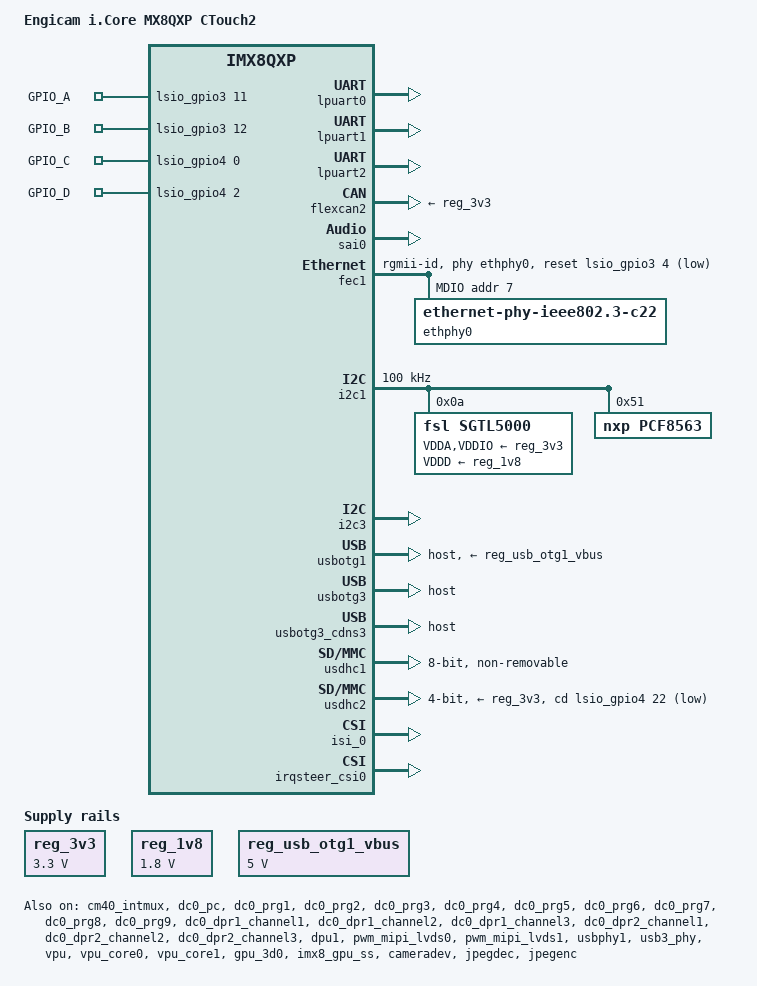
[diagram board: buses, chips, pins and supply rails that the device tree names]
// SPDX-License-Identifier: GPL-2.0+
/*
 * Copyright 2017-2020 NXP
 */

/dts-v1/;

#include "../freescale/imx8qxp.dtsi"
#include <dt-bindings/usb/pd.h>

/ {

	model = "Engicam i.Core MX8QXP CTouch2";
	compatible = "fsl,imx8qxp";

	chosen {
		stdout-path = &lpuart0;
	};

	/*memory@80000000 {
		device_type = "memory";
		reg = <0x00000000 0x80000000 0 0x80000000>;
	};*/

  gpio_export {
		compatible = "gpio-export";
		#size-cells = <0>;

		GPIO_A {
			gpio-export,name = "GPIO_A";
			gpio-export,output = <0>;
			gpio-export,direction_may_change;
			gpios = <&lsio_gpio3 11 0>;
		};

		GPIO_B {
			gpio-export,name = "GPIO_B";
			gpio-export,output = <0>;
			gpio-export,direction_may_change;
			gpios = <&lsio_gpio3 12 0>;
		};

		GPIO_C {
			gpio-export,name = "GPIO_C";
			gpio-export,output = <0>;
			gpio-export,direction_may_change;
			gpios = <&lsio_gpio4 0 0>;
		};

		GPIO_D {
			gpio-export,name = "GPIO_D";
			gpio-export,output = <0>;
			gpio-export,direction_may_change;
			gpios = <&lsio_gpio4 2 0>;
		};
	};

	reserved-memory {
		#address-cells = <2>;
		#size-cells = <2>;
		ranges;

		decoder_boot: decoder-boot@84000000 {
			reg = <0 0x84000000 0 0x2000000>;
			no-map;
		};

		encoder_boot: encoder-boot@86000000 {
			reg = <0 0x86000000 0 0x200000>;
			no-map;
		};

		decoder_rpc: decoder-rpc@92000000 {
			reg = <0 0x92000000 0 0x100000>;
			no-map;
		};

		encoder_rpc: encoder-rpc@94400000 {
			reg = <0 0x94400000 0 0x700000>;
			no-map;
		};
		/* global autoconfigured region for contiguous allocations */
		linux,cma {
			compatible = "shared-dma-pool";
			reusable;
			size = <0 0x3c000000>;
			alloc-ranges = <0 0x96000000 0 0x3c000000>;
			linux,cma-default;
		};
	};

	reg_3v3: regulator-3v3 {
		compatible = "regulator-fixed";
		regulator-name = "3v3";
		regulator-min-microvolt = <3300000>;
		regulator-max-microvolt = <3300000>;
		regulator-always-on;
	};

	reg_1v8: regulator-1v8 {
		compatible = "regulator-fixed";
		regulator-name = "1v8";
		regulator-min-microvolt = <1800000>;
		regulator-max-microvolt = <1800000>;
		regulator-always-on;
	};

	reg_usb_otg1_vbus: regulator-usbotg1-vbus {
		compatible = "regulator-fixed";
		regulator-name = "usb_otg1_vbus";
		regulator-min-microvolt = <5000000>;
		regulator-max-microvolt = <5000000>;
		regulator-always-on;
	};

	sound {
		compatible = "simple-audio-card";
		simple-audio-card,name = "imx8qxp-sgtl5000";
		simple-audio-card,format = "i2s";
		simple-audio-card,bitclock-master = <&dailink_master>;
		simple-audio-card,frame-master = <&dailink_master>;
		simple-audio-card,cpu {
			sound-dai = <&sai0>;
		};

		dailink_master: simple-audio-card,codec {
		    sound-dai = <&sgtl5000>;
			clocks = <&mclkout0_lpcg 0>;
		};
	};

	imx8x_cm4: imx8x_cm4@0 {
		compatible = "fsl,imx8qxp-cm4";
		rsc-da = <0x90000000>;
		mbox-names = "tx", "rx", "rxdb";
		mboxes = <&lsio_mu5 0 1
			  &lsio_mu5 1 1
			  &lsio_mu5 3 1>;
		mub-partition = <3>;
		memory-region = <&vdev0vring0>, <&vdev0vring1>, <&vdevbuffer>,
				<&vdev1vring0>, <&vdev1vring1>;
		core-index = <0>;
		core-id = <IMX_SC_R_M4_0_PID0>;
		status = "okay";
		power-domains = <&pd IMX_SC_R_M4_0_PID0>,
				<&pd IMX_SC_R_M4_0_MU_1A>;
	};

	reserved-memory {
		#address-cells = <2>;
		#size-cells = <2>;
		ranges;

		vdev0vring0: vdev0vring0@90000000 {
                        compatible = "shared-dma-pool";
			reg = <0 0x90000000 0 0x8000>;
			no-map;
		};

		vdev0vring1: vdev0vring1@90008000 {
                        compatible = "shared-dma-pool";
			reg = <0 0x90008000 0 0x8000>;
			no-map;
		};

		vdev1vring0: vdev1vring0@90010000 {
                        compatible = "shared-dma-pool";
			reg = <0 0x90010000 0 0x8000>;
			no-map;
		};

		vdev1vring1: vdev1vring1@90018000 {
                        compatible = "shared-dma-pool";
			reg = <0 0x90018000 0 0x8000>;
			no-map;
		};

		vdevbuffer: vdevbuffer {
                        compatible = "shared-dma-pool";
			reg = <0 0x90400000 0 0x100000>;
			no-map;
		};
	};

};

&cm40_intmux {
	status = "okay";
};

&dc0_pc {
	status = "okay";
};

&dc0_prg1 {
	status = "okay";
};

&dc0_prg2 {
	status = "okay";

};

&dc0_prg3 {
	status = "okay";
};

&dc0_prg4 {
	status = "okay";
};

&dc0_prg5 {
	status = "okay";
};

&dc0_prg6 {
	status = "okay";
};

&dc0_prg7 {
	status = "okay";
};

&dc0_prg8 {
	status = "okay";
};

&dc0_prg9 {
	status = "okay";
};

&dc0_dpr1_channel1 {
	status = "okay";
};

&dc0_dpr1_channel2 {
	status = "okay";
};

&dc0_dpr1_channel3 {
	status = "okay";
};

&dc0_dpr2_channel1 {
	status = "okay";
};

&dc0_dpr2_channel2 {
	status = "okay";
};

&dc0_dpr2_channel3 {
	status = "okay";
};

&dpu1 {
	status = "okay";
};

&pwm_mipi_lvds0 {
	pinctrl-names = "default";
	pinctrl-0 = <&pinctrl_pwm_mipi_lvds0>;
	status = "okay";
};

&pwm_mipi_lvds1 {
	pinctrl-names = "default";
	pinctrl-0 = <&pinctrl_pwm_mipi_lvds1>;
	status = "okay";
};

&lpuart0 {
	pinctrl-names = "default";
	pinctrl-0 = <&pinctrl_lpuart0>;
	status = "okay";
};

&lpuart1 {
	pinctrl-names = "default";
	pinctrl-0 = <&pinctrl_lpuart1>;
	fsl,uart-has-rtscts;
	rs485-rts-active-low;
	linux,rs485-enabled-at-boot-time;
	status = "okay";
};

&lpuart2 {
	pinctrl-names = "default";
	pinctrl-0 = <&pinctrl_lpuart2>;
	status = "okay";
};

&flexcan2 {
	pinctrl-names = "default";
	pinctrl-0 = <&pinctrl_flexcan2>;
	xceiver-supply = <&reg_3v3>;
	status = "okay";
};

&sai0 {
	#sound-dai-cells = <0>;
	assigned-clocks = <&clk IMX_SC_R_AUDIO_PLL_0 IMX_SC_PM_CLK_PLL>,
			<&clk IMX_SC_R_AUDIO_PLL_0 IMX_SC_PM_CLK_SLV_BUS>,
			<&clk IMX_SC_R_AUDIO_PLL_0 IMX_SC_PM_CLK_MST_BUS>,
			<&sai0_lpcg 0>;
	assigned-clock-rates = <786432000>, <49152000>, <12288000>, <49152000>;
	pinctrl-names = "default";
	pinctrl-0 = <&pinctrl_sai0>;
	status = "okay";
};

&fec1 {
	pinctrl-names = "default";
	pinctrl-0 = <&pinctrl_fec1>;
	phy-mode = "rgmii-id";
	phy-handle = <&ethphy0>;
	reset-gpio = <&lsio_gpio3 4 GPIO_ACTIVE_LOW>;
	status = "okay";

	mdio {
		#address-cells = <1>;
		#size-cells = <0>;

		ethphy0: ethernet-phy@7 {
			compatible = "ethernet-phy-ieee802.3-c22";
			reg = <7>;
			max-speed = <100>;
			status = "okay";
		};
	};
};

&i2c1 {
	#address-cells = <1>;
	#size-cells = <0>;
	clock-frequency = <100000>;
	pinctrl-names = "default";
	pinctrl-0 = <&pinctrl_lpi2c1>;
	status = "okay";

	sgtl5000: codec@a {
		compatible = "fsl,sgtl5000";
		status = "okay";
		#sound-dai-cells = <0>;
		reg = <0x0a>;
		clocks = <&mclkout0_lpcg 0>;
		clock-names = "mclk";
		assigned-clocks = <&clk IMX_SC_R_AUDIO_PLL_0 IMX_SC_PM_CLK_PLL>,
				<&clk IMX_SC_R_AUDIO_PLL_0 IMX_SC_PM_CLK_SLV_BUS>,
				<&clk IMX_SC_R_AUDIO_PLL_0 IMX_SC_PM_CLK_MST_BUS>,
				<&mclkout0_lpcg 0>;
		assigned-clock-rates = <786432000>, <49152000>, <12288000>, <12288000>;
		VDDA-supply = <&reg_3v3>;
		VDDIO-supply = <&reg_3v3>;
		VDDD-supply = <&reg_1v8>;
	};

	pcf8563: rtc@51 {
		compatible = "nxp,pcf8563";
		reg = <0x51>;
	};
};

&i2c3
{
  #address-cells = <1>;
	#size-cells = <0>;
	pinctrl-names = "default";
	pinctrl-0 = <&pinctrl_lpi1c3>;
	status = "okay";
};

&usbphy1 {
	status = "okay";
};

&usbotg1 {
	vbus-supply = <&reg_usb_otg1_vbus>;
	srp-disable;
	hnp-disable;
	adp-disable;
	power-active-high;
	disable-over-current;
	dr_mode = "host";
	status = "okay";
};

&usb3_phy {
	status = "okay";
};

&usbotg3 {
	dr_mode = "host";
	pinctrl-assert-gpios = <&lsio_gpio4 19 GPIO_ACTIVE_HIGH>;
	status = "okay";
};

&usbotg3_cdns3 {
	dr_mode = "host";
	status = "okay";
};

&usdhc1 {
	pinctrl-names = "default", "state_100mhz", "state_200mhz";
	pinctrl-0 = <&pinctrl_usdhc1>;
	pinctrl-1 = <&pinctrl_usdhc1_100mhz>;
	pinctrl-2 = <&pinctrl_usdhc1_200mhz>;
	bus-width = <8>;
	no-sd;
	no-sdio;
	non-removable;
	status = "okay";
};

&usdhc2 {
	pinctrl-names = "default", "state_100mhz", "state_200mhz";
	pinctrl-0 = <&pinctrl_usdhc2>, <&pinctrl_usdhc2_gpio>;
	pinctrl-1 = <&pinctrl_usdhc2>, <&pinctrl_usdhc2_gpio>;
	pinctrl-2 = <&pinctrl_usdhc2>, <&pinctrl_usdhc2_gpio>;
	bus-width = <4>;
	vmmc-supply = <&reg_3v3>;
	no-1-8-v;
	cd-gpios = <&lsio_gpio4 22 GPIO_ACTIVE_LOW>;
	status = "okay";
};

&vpu {
	compatible = "nxp,imx8qxp-vpu";
	status = "okay";
};

&vpu_core0 {
	reg = <0x2d040000 0x10000>;
	memory-region = <&decoder_boot>, <&decoder_rpc>;
	status = "okay";
};

&vpu_core1 {
	reg = <0x2d050000 0x10000>;
	memory-region = <&encoder_boot>, <&encoder_rpc>;
	status = "okay";
};

&gpu_3d0 {
	status = "okay";
};

&imx8_gpu_ss {
	status = "okay";
};

&isi_0 {
	status = "okay";

	cap_device {
		status = "okay";
	};

	m2m_device {
		status = "okay";
	};
};

&irqsteer_csi0 {
	status = "okay";
};

&cameradev {
	status = "okay";
};

&jpegdec {
	status = "okay";
};

&jpegenc {
	status = "okay";
};

/*&thermal_zones {
	pmic-thermal0 {
		polling-delay-passive = <250>;
		polling-delay = <2000>;
		thermal-sensors = <&tsens 497>;
		trips {
			pmic_alert0: trip0 {
				temperature = <110000>;
				hysteresis = <2000>;
				type = "passive";
			};
			pmic_crit0: trip1 {
				temperature = <125000>;
				hysteresis = <2000>;
				type = "critical";
			};
		};
		cooling-maps {
			map0 {
				trip = <&pmic_alert0>;
				cooling-device =
					<&A35_0 THERMAL_NO_LIMIT THERMAL_NO_LIMIT>,
					<&A35_1 THERMAL_NO_LIMIT THERMAL_NO_LIMIT>,
					<&A35_2 THERMAL_NO_LIMIT THERMAL_NO_LIMIT>,
					<&A35_3 THERMAL_NO_LIMIT THERMAL_NO_LIMIT>;
			};
		};
	};
};*/

&iomuxc {
	pinctrl-names = "default";
	pinctrl-0 = <&pinctrl_hog>;

	pinctrl_hog: hoggrp {
		fsl,pins = <
			IMX8QXP_MCLK_OUT0_ADMA_ACM_MCLK_OUT0       0x0600004c
			IMX8QXP_COMP_CTL_GPIO_1V8_3V3_GPIORHB_PAD  0x000514a0
			IMX8QXP_QSPI0A_DATA2_LSIO_GPIO3_IO11 0x06000020 // GPIO_A
			IMX8QXP_QSPI0A_DATA3_LSIO_GPIO3_IO12 0x06000020 // GPIO_B
			IMX8QXP_PCIE_CTRL0_PERST_B_LSIO_GPIO4_IO00 0x06000020 // GPIO_C
			IMX8QXP_PCIE_CTRL0_WAKE_B_LSIO_GPIO4_IO02 0x06000020 // GPIO_D
		>;
	};

	pinctrl_usbotg1: usbotg1 {
		fsl,pins = <
			IMX8QXP_USB_SS3_TC0_CONN_USB_OTG1_PWR		0x00000021
		>;
	};

	pinctrl_fec1: fec1grp {
		fsl,pins = <
			IMX8QXP_COMP_CTL_GPIO_1V8_3V3_ENET_ENETB0_PAD		0x000014a0
			IMX8QXP_COMP_CTL_GPIO_1V8_3V3_ENET_ENETB1_PAD		0x000014a0
			IMX8QXP_ENET0_MDC_CONN_ENET0_MDC			0x06000020
			IMX8QXP_ENET0_MDIO_CONN_ENET0_MDIO			0x06000020
			IMX8QXP_ENET0_RGMII_TX_CTL_CONN_ENET0_RGMII_TX_CTL	0x00000061
			IMX8QXP_ENET0_RGMII_TXC_CONN_ENET0_RGMII_TXC		0x00000061
			IMX8QXP_ENET0_RGMII_TXD0_CONN_ENET0_RGMII_TXD0		0x00000061
			IMX8QXP_ENET0_RGMII_TXD1_CONN_ENET0_RGMII_TXD1		0x00000061
			IMX8QXP_ENET0_RGMII_TXD2_CONN_ENET0_RGMII_TXD2		0x00000061
			IMX8QXP_ENET0_RGMII_TXD3_CONN_ENET0_RGMII_TXD3		0x00000061
			IMX8QXP_ENET0_RGMII_RXC_CONN_ENET0_RGMII_RXC		0x00000061
			IMX8QXP_ENET0_RGMII_RX_CTL_CONN_ENET0_RGMII_RX_CTL	0x00000061
			IMX8QXP_ENET0_RGMII_RXD0_CONN_ENET0_RGMII_RXD0		0x00000061
			IMX8QXP_ENET0_RGMII_RXD1_CONN_ENET0_RGMII_RXD1		0x00000061
			IMX8QXP_ENET0_RGMII_RXD2_CONN_ENET0_RGMII_RXD2		0x00000061
			IMX8QXP_ENET0_RGMII_RXD3_CONN_ENET0_RGMII_RXD3		0x00000061
			IMX8QXP_MIPI_CSI0_MCLK_OUT_LSIO_GPIO3_IO04 0x06000020 /* Reset */
		>;
	};

	pinctrl_lpi2c1: lpi2c1grp {
		fsl,pins = <
			IMX8QXP_USB_SS3_TC1_ADMA_I2C1_SCL			0x06000021
			IMX8QXP_USB_SS3_TC3_ADMA_I2C1_SDA			0x06000021
		>;
	};

	pinctrl_lpi1c3: lpi1c3grp {
		fsl,pins = <
			IMX8QXP_SPI3_CS1_ADMA_I2C3_SCL			0x06000021
			IMX8QXP_MCLK_IN1_ADMA_I2C3_SDA			0x06000021
		>;
	};

	pinctrl_flexcan2: flexcan1grp {
		fsl,pins = <
			IMX8QXP_FLEXCAN1_TX_ADMA_FLEXCAN1_TX            0x21
			IMX8QXP_FLEXCAN1_RX_ADMA_FLEXCAN1_RX            0x21
			>;
	};

	pinctrl_lpuart0: lpuart0grp {
		fsl,pins = <
			IMX8QXP_UART0_RX_ADMA_UART0_RX				0x06000020
			IMX8QXP_UART0_TX_ADMA_UART0_TX				0x06000020
		>;
	};

	pinctrl_lpuart1: lpuart1grp {
		fsl,pins = <
			IMX8QXP_UART1_TX_ADMA_UART1_TX		0x06000020
			IMX8QXP_UART1_RX_ADMA_UART1_RX		0x06000020
			IMX8QXP_UART1_RTS_B_ADMA_UART1_RTS_B	0x06000020
			IMX8QXP_UART1_CTS_B_ADMA_UART1_CTS_B	0x06000020
		>;
	};

	pinctrl_lpuart2: lpuart2grp {
		fsl,pins = <
			IMX8QXP_UART2_TX_ADMA_UART2_TX		0x06000020
			IMX8QXP_UART2_RX_ADMA_UART2_RX		0x06000020
		>;
	};

	pinctrl_pwm_mipi_lvds0: mipi_lvds0_pwm_grp {
		fsl,pins = <
			IMX8QXP_MIPI_DSI0_GPIO0_00_MIPI_DSI0_PWM0_OUT		0x00000020
		>;
	};

	pinctrl_pwm_mipi_lvds1: mipi_lvds1_pwm_grp {
		fsl,pins = <
			IMX8QXP_MIPI_DSI1_GPIO0_00_MIPI_DSI1_PWM0_OUT		0x00000020
		>;
	};

	pinctrl_sai0: sai0grp {
		fsl,pins = <
			IMX8QXP_SAI0_TXD_ADMA_SAI0_TXD		0x06000060
			IMX8QXP_SAI0_RXD_ADMA_SAI0_RXD		0x06000040
			IMX8QXP_SAI0_TXC_ADMA_SAI0_TXC		0x06000040
			IMX8QXP_SAI0_TXFS_ADMA_SAI0_TXFS	0x06000040
		>;
	};

	pinctrl_usdhc1: usdhc1grp {
		fsl,pins = <
			IMX8QXP_EMMC0_CLK_CONN_EMMC0_CLK			0x06000041
			IMX8QXP_EMMC0_CMD_CONN_EMMC0_CMD			0x00000021
			IMX8QXP_EMMC0_DATA0_CONN_EMMC0_DATA0			0x00000021
			IMX8QXP_EMMC0_DATA1_CONN_EMMC0_DATA1			0x00000021
			IMX8QXP_EMMC0_DATA2_CONN_EMMC0_DATA2			0x00000021
			IMX8QXP_EMMC0_DATA3_CONN_EMMC0_DATA3			0x00000021
			IMX8QXP_EMMC0_DATA4_CONN_EMMC0_DATA4			0x00000021
			IMX8QXP_EMMC0_DATA5_CONN_EMMC0_DATA5			0x00000021
			IMX8QXP_EMMC0_DATA6_CONN_EMMC0_DATA6			0x00000021
			IMX8QXP_EMMC0_DATA7_CONN_EMMC0_DATA7			0x00000021
			IMX8QXP_EMMC0_STROBE_CONN_EMMC0_STROBE			0x00000041
		>;
	};

	pinctrl_usdhc1_100mhz: usdhc1grp100mhz {
		fsl,pins = <
			IMX8QXP_EMMC0_CLK_CONN_EMMC0_CLK		0x06000040
			IMX8QXP_EMMC0_CMD_CONN_EMMC0_CMD		0x00000020
			IMX8QXP_EMMC0_DATA0_CONN_EMMC0_DATA0	0x00000020
			IMX8QXP_EMMC0_DATA1_CONN_EMMC0_DATA1	0x00000020
			IMX8QXP_EMMC0_DATA2_CONN_EMMC0_DATA2	0x00000020
			IMX8QXP_EMMC0_DATA3_CONN_EMMC0_DATA3	0x00000020
			IMX8QXP_EMMC0_DATA4_CONN_EMMC0_DATA4	0x00000020
			IMX8QXP_EMMC0_DATA5_CONN_EMMC0_DATA5	0x00000020
			IMX8QXP_EMMC0_DATA6_CONN_EMMC0_DATA6	0x00000020
			IMX8QXP_EMMC0_DATA7_CONN_EMMC0_DATA7	0x00000020
			IMX8QXP_EMMC0_STROBE_CONN_EMMC0_STROBE	0x06000040
		>;
	};

	pinctrl_usdhc1_200mhz: usdhc1grp200mhz {
		fsl,pins = <
			IMX8QXP_EMMC0_CLK_CONN_EMMC0_CLK		0x06000040
			IMX8QXP_EMMC0_CMD_CONN_EMMC0_CMD		0x00000020
			IMX8QXP_EMMC0_DATA0_CONN_EMMC0_DATA0	0x00000020
			IMX8QXP_EMMC0_DATA1_CONN_EMMC0_DATA1	0x00000020
			IMX8QXP_EMMC0_DATA2_CONN_EMMC0_DATA2	0x00000020
			IMX8QXP_EMMC0_DATA3_CONN_EMMC0_DATA3	0x00000020
			IMX8QXP_EMMC0_DATA4_CONN_EMMC0_DATA4	0x00000020
			IMX8QXP_EMMC0_DATA5_CONN_EMMC0_DATA5	0x00000020
			IMX8QXP_EMMC0_DATA6_CONN_EMMC0_DATA6	0x00000020
			IMX8QXP_EMMC0_DATA7_CONN_EMMC0_DATA7	0x00000020
			IMX8QXP_EMMC0_STROBE_CONN_EMMC0_STROBE	0x06000040
		>;
	};

	pinctrl_usdhc2_gpio: usdhc2gpiogrp {
		fsl,pins = <
			IMX8QXP_USDHC1_RESET_B_LSIO_GPIO4_IO19     0x00000021
			IMX8QXP_USDHC1_WP_LSIO_GPIO4_IO21          0x00000021
			IMX8QXP_USDHC1_CD_B_LSIO_GPIO4_IO22        0x00000021
		>;
	};

	pinctrl_usdhc2: usdhc2grp {
		fsl,pins = <
			IMX8QXP_USDHC1_CLK_CONN_USDHC1_CLK			0x06000041
			IMX8QXP_USDHC1_CMD_CONN_USDHC1_CMD			0x00000021
			IMX8QXP_USDHC1_DATA0_CONN_USDHC1_DATA0			0x00000021
			IMX8QXP_USDHC1_DATA1_CONN_USDHC1_DATA1			0x00000021
			IMX8QXP_USDHC1_DATA2_CONN_USDHC1_DATA2			0x00000021
			IMX8QXP_USDHC1_DATA3_CONN_USDHC1_DATA3			0x00000021
			IMX8QXP_USDHC1_VSELECT_CONN_USDHC1_VSELECT		0x00000021
		>;
	};
};
